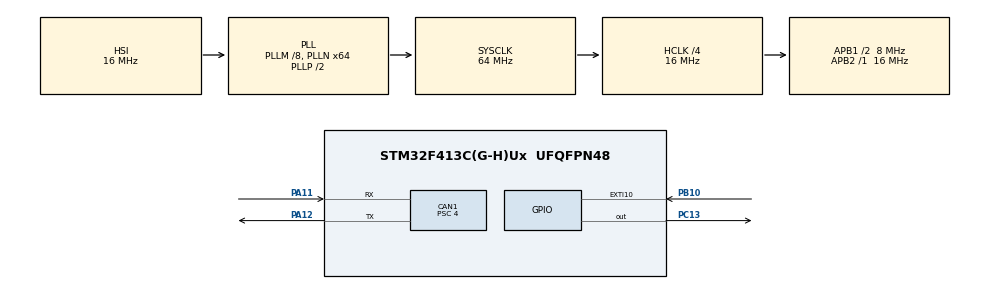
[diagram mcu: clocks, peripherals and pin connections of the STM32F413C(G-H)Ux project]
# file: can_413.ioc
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CAN1.AWUM=ENABLE
CAN1.BS1=CAN_BS1_2TQ
CAN1.CalculateBaudRate=500000
CAN1.CalculateTimeBit=2000
CAN1.CalculateTimeQuantum=500.0
CAN1.Mode=CAN_MODE_NORMAL
CAN1.NART=ENABLE
CAN1.Prescaler=4
Mcu.Family=STM32F4
Mcu.Name=STM32F413C(G-H)Ux
Mcu.Package=UFQFPN48
NVIC.CAN1_RX0_IRQn=true\:0\:0\:false\:false\:true\:true\:true
NVIC.CAN1_TX_IRQn=true\:0\:0\:false\:false\:true\:true\:true
NVIC.EXTI15_10_IRQn=true\:0\:0\:false\:false\:true\:true\:true
NVIC.PriorityGroup=NVIC_PRIORITYGROUP_4
PA11.Mode=CAN_Activate
PA11.Signal=CAN1_RX
PA12.Mode=CAN_Activate
PA12.Signal=CAN1_TX
PA13.Mode=Serial_Wire
PA13.Signal=SYS_JTMS-SWDIO
PA14.Mode=Serial_Wire
PA14.Signal=SYS_JTCK-SWCLK
PB10.GPIO_ModeDefaultEXTI=GPIO_MODE_IT_FALLING
PB10.GPIO_PuPd=GPIO_PULLUP
PB10.Signal=GPXTI10
PC13.Signal=GPIO_Output
ProjectManager.HeapSize=0x200
ProjectManager.StackSize=0x400
ProjectManager.TargetToolchain=Makefile
RCC.AHBCLKDivider=RCC_SYSCLK_DIV4
RCC.AHBFreq_Value=16000000
RCC.APB1CLKDivider=RCC_HCLK_DIV2
RCC.APB1Freq_Value=8000000
RCC.APB1TimFreq_Value=16000000
RCC.APB2Freq_Value=16000000
RCC.APB2TimFreq_Value=16000000
RCC.CortexFreq_Value=16000000
RCC.HCLKFreq_Value=16000000
RCC.PLLM=8
RCC.PLLN=64
RCC.SYSCLKFreq_VALUE=64000000
RCC.SYSCLKSource=RCC_SYSCLKSOURCE_PLLCLK
RCC.USBFreq_Value=64000000
RCC.VCOOutputFreq_Value=128000000
board=custom

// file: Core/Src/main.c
/* USER CODE BEGIN Header */
/**
  ******************************************************************************
  * @file           : main.c
  * @brief          : Main program body
  ******************************************************************************
  * @attention
  *
  * Copyright (c) 2022 STMicroelectronics.
  * All rights reserved.
  *
  * This software is licensed under terms that can be found in the LICENSE file
  * in the root directory of this software component.
  * If no LICENSE file comes with this software, it is provided AS-IS.
  *
  ******************************************************************************
  */
/* USER CODE END Header */
#include "main.h"

CAN_HandleTypeDef hcan1;

void SystemClock_Config(void);
static void MX_GPIO_Init(void);
static void MX_CAN1_Init(void);

/* USER CODE BEGIN 0 */

CAN_TxHeaderTypeDef TxHeader;
CAN_RxHeaderTypeDef RxHeader;

uint32_t TxMailbox;

uint8_t TxData[8];
uint8_t RxData[8];

uint8_t count = 0;

int datacheck = 0;
int datacheck2 = 0;

void HAL_GPIO_EXTI_Callback(uint16_t GPIO_Pin){
  if (GPIO_Pin == GPIO_PIN_10){
    TxData[0] = 100;
    TxData[1] = 4;

    HAL_CAN_AddTxMessage(&hcan1, &TxHeader, TxData, &TxMailbox);

  }
}

void HAL_CAN_RxFifo0MsgPendingCallback(CAN_HandleTypeDef *hcan){

  HAL_CAN_GetRxMessage(hcan, CAN_RX_FIFO0, &RxHeader, RxData);
  if (RxHeader.StdId == 0x0A0){ // must be "0x012" format with 3 value id
    datacheck = 1;
  }
  else if (RxHeader.StdId == 0x0A2){
    datacheck2 = 1;
  }
}

/* USER CODE END 0 */

int main(void)
{

  /* MCU Configuration--------------------------------------------------------*/

  /* Reset of all peripherals, Initializes the Flash interface and the Systick. */
  HAL_Init();

  /* Configure the system clock */
  SystemClock_Config();

  /* Initialize all configured peripherals */
  MX_GPIO_Init();
  MX_CAN1_Init();
  /* USER CODE BEGIN 2 */

  HAL_CAN_Start(&hcan1);
  HAL_CAN_ActivateNotification(&hcan1, CAN_IT_RX_FIFO0_MSG_PENDING);

  TxHeader.DLC = 2;
  TxHeader.ExtId = 0;
  TxHeader.IDE = CAN_ID_STD;
  TxHeader.RTR = CAN_RTR_DATA;
  TxHeader.StdId = 0xA1;
  TxHeader.TransmitGlobalTime = DISABLE;

  TxData[0] = 0xf3;

  HAL_CAN_AddTxMessage(&hcan1, &TxHeader, TxData, &TxMailbox);

  /* USER CODE END 2 */

  /* Infinite loop */
  while (1)
  {

    /* USER CODE BEGIN 3 */
    // TxData[0] = 100;
    // TxData[1] = 3;

    // HAL_CAN_AddTxMessage(&hcan1, &TxHeader, TxData, &TxMailbox);
    // datacheck = 1;

    if (datacheck){
      for (int i=0; i<RxData[1]; i++){
        HAL_GPIO_TogglePin(GPIOC, GPIO_PIN_13);
        HAL_Delay(RxData[0]);
      }
      datacheck = 0;
    }
    if (datacheck2){
      for (int i=0; i<RxData[1]; i++){
        HAL_GPIO_TogglePin(GPIOC, GPIO_PIN_13);
        HAL_Delay(1000);
      }
      datacheck2 = 0;
    }
  }
  /* USER CODE END 3 */
}

void SystemClock_Config(void)
{
  RCC_OscInitTypeDef RCC_OscInitStruct = {0};
  RCC_ClkInitTypeDef RCC_ClkInitStruct = {0};

  /** Configure the main internal regulator output voltage
  */
  __HAL_RCC_PWR_CLK_ENABLE();
  __HAL_PWR_VOLTAGESCALING_CONFIG(PWR_REGULATOR_VOLTAGE_SCALE1);
  /** Initializes the RCC Oscillators according to the specified parameters
  * in the RCC_OscInitTypeDef structure.
  */
  RCC_OscInitStruct.OscillatorType = RCC_OSCILLATORTYPE_HSI;
  RCC_OscInitStruct.HSIState = RCC_HSI_ON;
  RCC_OscInitStruct.HSICalibrationValue = RCC_HSICALIBRATION_DEFAULT;
  RCC_OscInitStruct.PLL.PLLState = RCC_PLL_ON;
  RCC_OscInitStruct.PLL.PLLSource = RCC_PLLSOURCE_HSI;
  RCC_OscInitStruct.PLL.PLLM = 8;
  RCC_OscInitStruct.PLL.PLLN = 64;
  RCC_OscInitStruct.PLL.PLLP = RCC_PLLP_DIV2;
  RCC_OscInitStruct.PLL.PLLQ = 2;
  RCC_OscInitStruct.PLL.PLLR = 2;
  if (HAL_RCC_OscConfig(&RCC_OscInitStruct) != HAL_OK)
  {
    Error_Handler();
  }
  /** Initializes the CPU, AHB and APB buses clocks
  */
  RCC_ClkInitStruct.ClockType = RCC_CLOCKTYPE_HCLK|RCC_CLOCKTYPE_SYSCLK
                              |RCC_CLOCKTYPE_PCLK1|RCC_CLOCKTYPE_PCLK2;
  RCC_ClkInitStruct.SYSCLKSource = RCC_SYSCLKSOURCE_PLLCLK;
  RCC_ClkInitStruct.AHBCLKDivider = RCC_SYSCLK_DIV4;
  RCC_ClkInitStruct.APB1CLKDivider = RCC_HCLK_DIV2;
  RCC_ClkInitStruct.APB2CLKDivider = RCC_HCLK_DIV1;

  if (HAL_RCC_ClockConfig(&RCC_ClkInitStruct, FLASH_LATENCY_0) != HAL_OK)
  {
    Error_Handler();
  }
}

static void MX_CAN1_Init(void)
{

  hcan1.Instance = CAN1;
  hcan1.Init.Prescaler = 4;
  hcan1.Init.Mode = CAN_MODE_NORMAL;
  hcan1.Init.SyncJumpWidth = CAN_SJW_1TQ;
  hcan1.Init.TimeSeg1 = CAN_BS1_2TQ;
  hcan1.Init.TimeSeg2 = CAN_BS2_1TQ;
  hcan1.Init.TimeTriggeredMode = DISABLE;
  hcan1.Init.AutoBusOff = DISABLE;
  hcan1.Init.AutoWakeUp = ENABLE;
  hcan1.Init.AutoRetransmission = ENABLE;
  hcan1.Init.ReceiveFifoLocked = DISABLE;
  hcan1.Init.TransmitFifoPriority = DISABLE;
  if (HAL_CAN_Init(&hcan1) != HAL_OK)
  {
    Error_Handler();
  }
  /* USER CODE BEGIN CAN1_Init 2 */

  // CAN_FilterTypeDef canfilterconfig;
  // canfilterconfig.FilterActivation = CAN_FILTER_ENABLE;
  // canfilterconfig.FilterBank = 0;
  // canfilterconfig.FilterFIFOAssignment = CAN_RX_FIFO0;
  // canfilterconfig.FilterIdHigh = 0xA0 << 5;
  // canfilterconfig.FilterIdLow = 0x0000;
  // canfilterconfig.FilterMaskIdHigh = 0xA0 << 5;
  // canfilterconfig.FilterMaskIdLow = 0x0000;
  // canfilterconfig.FilterMode = CAN_FILTERMODE_IDMASK;
  // canfilterconfig.FilterScale = CAN_FILTERSCALE_32BIT;
  // canfilterconfig.SlaveStartFilterBank = 0;

  // HAL_CAN_ConfigFilter(&hcan1, &canfilterconfig);

  CAN_FilterTypeDef canfilterconfig2;
  canfilterconfig2.FilterActivation = CAN_FILTER_ENABLE;
  canfilterconfig2.FilterBank = 1; // Change for each address we're looking for
  canfilterconfig2.FilterFIFOAssignment = CAN_RX_FIFO0;
  // for the FilterID, we can just use 0x0FF to match all of them
  canfilterconfig2.FilterIdHigh = 0x0FF<< 5; // shift 5 because we conly care about standard id, not extended
  canfilterconfig2.FilterIdLow = 0x0000;
  // for the maskID, this is what masks against the filterID and the incomming message.
  // so, if we're looking for all the 0x0A_ Values, we can set it to 0x0A0 which would pass through
  // 0x0A0, 0x0A1, 0x0A2 ... As long as the 6th and 8th bit (representing 0x0A0) are "1"
  canfilterconfig2.FilterMaskIdHigh = 0x0A0 << 5;
  canfilterconfig2.FilterMaskIdLow = 0x0000;
  canfilterconfig2.FilterMode = CAN_FILTERMODE_IDMASK;
  canfilterconfig2.FilterScale = CAN_FILTERSCALE_32BIT;
  canfilterconfig2.SlaveStartFilterBank = 0;

  HAL_CAN_ConfigFilter(&hcan1, &canfilterconfig2);

  /* USER CODE END CAN1_Init 2 */

}

static void MX_GPIO_Init(void)
{
  GPIO_InitTypeDef GPIO_InitStruct = {0};

  /* GPIO Ports Clock Enable */
  __HAL_RCC_GPIOC_CLK_ENABLE();
  __HAL_RCC_GPIOB_CLK_ENABLE();
  __HAL_RCC_GPIOA_CLK_ENABLE();

  /*Configure GPIO pin Output Level */
  HAL_GPIO_WritePin(GPIOC, GPIO_PIN_13, GPIO_PIN_RESET);

  /*Configure GPIO pin : PC13 */
  GPIO_InitStruct.Pin = GPIO_PIN_13;
  GPIO_InitStruct.Mode = GPIO_MODE_OUTPUT_PP;
  GPIO_InitStruct.Pull = GPIO_NOPULL;
  GPIO_InitStruct.Speed = GPIO_SPEED_FREQ_LOW;
  HAL_GPIO_Init(GPIOC, &GPIO_InitStruct);

  /*Configure GPIO pin : PB10 */
  GPIO_InitStruct.Pin = GPIO_PIN_10;
  GPIO_InitStruct.Mode = GPIO_MODE_IT_FALLING;
  GPIO_InitStruct.Pull = GPIO_PULLUP;
  HAL_GPIO_Init(GPIOB, &GPIO_InitStruct);

  /* EXTI interrupt init*/
  HAL_NVIC_SetPriority(EXTI15_10_IRQn, 0, 0);
  HAL_NVIC_EnableIRQ(EXTI15_10_IRQn);

}

void Error_Handler(void)
{
  __disable_irq();
  while (1)
  {
  }
}
